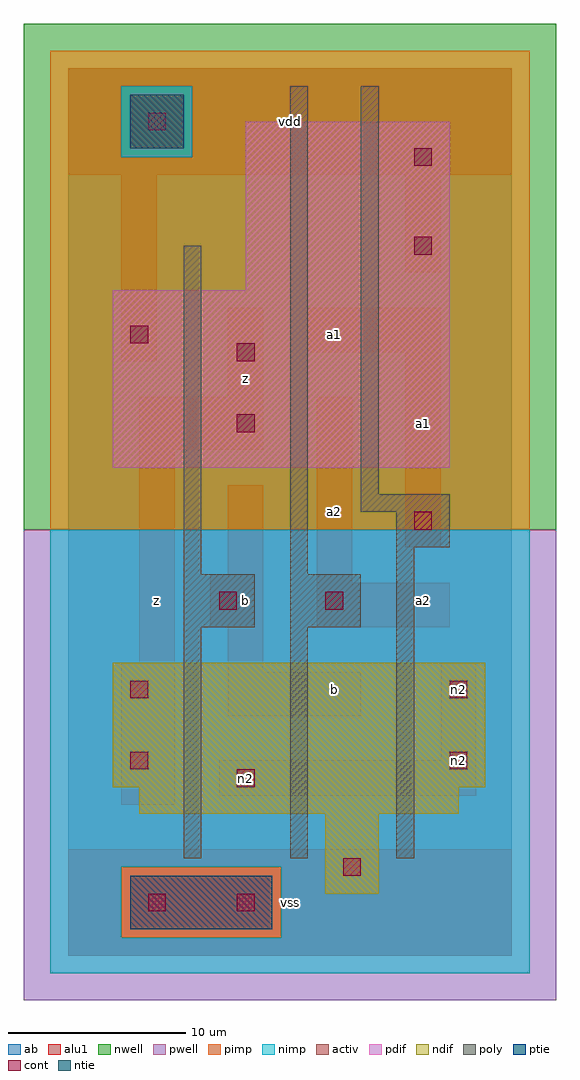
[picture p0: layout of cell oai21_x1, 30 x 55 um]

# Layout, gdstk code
import gdstk
lib = gdstk.Library(unit=1e-6, precision=1e-09)
def R(c, l, rs):  # rectangles x0, y0, x1, y1
    for r in rs: c.add(gdstk.rectangle(r[:2], r[2:], *l))
ndif = (3, 0)
pdif = (4, 0)
ntie = (5, 0)
ptie = (6, 0)
cont = (25, 0)
pwell = (41, 0)
nwell = (42, 0)
activ = (43, 0)
pimp = (44, 0)
nimp = (45, 0)
poly = (46, 0)
alu1 = (49, 0)
ab = (63, 0)

oai21_x1 = lib.new_cell('oai21_x1')
R(oai21_x1, ndif, [(14.5,3.5,17.5,8), (4,8,22,9.5), (2.5,9.5,23.5,16.5)])
R(oai21_x1, pdif, [(2.5,27.5,21.5,37.5), (10,37.5,21.5,47)])
R(oai21_x1, ntie, [(3.5,45.5,6.5,48.5)])
R(oai21_x1, ptie, [(3.5,1.5,11.5,4.5)])
R(oai21_x1, cont, [(4.5,2.5,5.5,3.5), (9.5,2.5,10.5,3.5), (15.5,4.5,16.5,5.5), (9.5,9.5,10.5,10.5), (3.5,10.5,4.5,11.5), (21.5,10.5,22.5,11.5), (3.5,14.5,4.5,15.5), (21.5,14.5,22.5,15.5), (8.5,19.5,9.5,20.5), (14.5,19.5,15.5,20.5), (19.5,24,20.5,25), (9.5,29.5,10.5,30.5), (9.5,33.5,10.5,34.5), (3.5,34.5,4.5,35.5), (19.5,39.5,20.5,40.5), (19.5,44.5,20.5,45.5), (4.5,46.5,5.5,47.5)])
R(oai21_x1, pwell, [(-2.5,-2.5,27.5,24)])
R(oai21_x1, nwell, [(-2.5,24,27.5,52.5)])
R(oai21_x1, activ, [(3.5,1.5,11.5,4.5), (14.5,3.5,17.5,8), (4,8,22,9.5), (2.5,9.5,23.5,16.5), (2.5,27.5,21.5,37.5), (10,37.5,21.5,47), (3.5,45.5,6.5,48.5)])
R(oai21_x1, pimp, [(3,1,12,5), (-1,24,26,45), (-1,45,3,49), (7,45,26,49), (-1,49,26,51)])
R(oai21_x1, nimp, [(-1,-1,26,1), (-1,1,3,5), (12,1,26,5), (-1,5,26,24), (3,45,7,49)])
R(oai21_x1, poly, [(6.5,5.5,7.5,18.5), (12.5,5.5,13.5,18.5), (18.5,5.5,19.5,23), (6.5,18.5,10.5,21.5), (12.5,18.5,16.5,21.5), (6.5,21.5,7.5,40), (12.5,21.5,13.5,49), (18.5,23,21.5,25), (16.5,25,21.5,26), (16.5,26,17.5,49)])
R(oai21_x1, alu1, [(0,0,25,6), (0,0,25,6), (3,8.5,6,16.5), (3,8.5,6,16.5), (8.5,9,23,11), (8.5,9,23,11), (21,11,23,16.5), (21,11,23,16.5), (9,13.5,16.5,16), (9,13.5,16.5,16), (9,16,11,18.5), (9,16,11,18.5), (4,16.5,6,28.5), (4,16.5,6,28.5), (8,18.5,11,21.5), (8,18.5,11,21.5), (14,18.5,21.5,21), (14,18.5,21.5,21), (14,21,16,31.5), (14,21,16,31.5), (9,21.5,11,26.5), (9,21.5,11,26.5), (19,23,21,34), (19,23,21,34), (4,28.5,11,31.5), (4,28.5,11,31.5), (9,31.5,11,36.5), (9,31.5,11,36.5), (3,33.5,5,44), (3,33.5,5,44), (13.5,34,21,36.5), (13.5,34,21,36.5), (19,38.5,21,44), (19,38.5,21,44), (0,44,25,50), (0,44,25,50)])
R(oai21_x1, ab, [(0,0,25,50)])
oai21_x1.add(gdstk.Label('n2', (10,10), layer=49, texttype=0))
oai21_x1.add(gdstk.Label('n2', (22,11), layer=49, texttype=0))
oai21_x1.add(gdstk.Label('n2', (22,15), layer=49, texttype=0))
oai21_x1.add(gdstk.Label('z', (5,20), layer=49, texttype=0))
oai21_x1.add(gdstk.Label('b', (10,20), layer=49, texttype=0))
oai21_x1.add(gdstk.Label('z', (10,32.5), layer=49, texttype=0))
oai21_x1.add(gdstk.Label('vss', (12.5,3), layer=49, texttype=0))
oai21_x1.add(gdstk.Label('b', (15,15), layer=49, texttype=0))
oai21_x1.add(gdstk.Label('a2', (15,25), layer=49, texttype=0))
oai21_x1.add(gdstk.Label('a1', (15,35), layer=49, texttype=0))
oai21_x1.add(gdstk.Label('vdd', (12.5,47), layer=49, texttype=0))
oai21_x1.add(gdstk.Label('a2', (20,20), layer=49, texttype=0))
oai21_x1.add(gdstk.Label('a1', (20,30), layer=49, texttype=0))

lib.write_gds('oai21_x1.gds')
